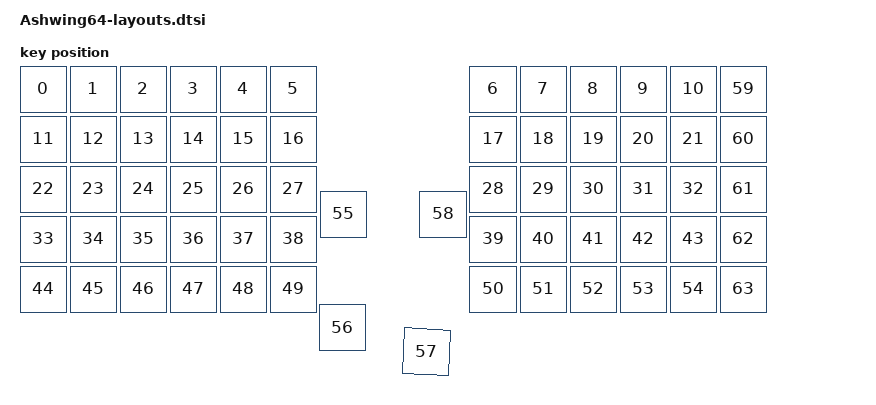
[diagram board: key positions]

/*
 * Copyright (c) 2024 The ZMK Contributors
 *
 * SPDX-License-Identifier: MIT
 */

#include <physical_layouts.dtsi>

/ {
    DEFAULT: DEFAULT {
        compatible = "zmk,physical-layout";
        display-name = "Ashwing64";
        transform = <&default_transform>;
        kscan = <&kscan0>;

        keys  //                     w   h    x    y     rot    rx    ry
            //Left Row0
            = <&key_physical_attrs 100 100    0    0       0     0     0>
            , <&key_physical_attrs 100 100  100    0       0     0     0>
            , <&key_physical_attrs 100 100  200    0       0     0     0>
            , <&key_physical_attrs 100 100  300    0       0     0     0>
            , <&key_physical_attrs 100 100  400    0       0     0     0>
            , <&key_physical_attrs 100 100  500    0       0     0     0>
            //Right Row0
            , <&key_physical_attrs 100 100  900    0       0     0     0>
            , <&key_physical_attrs 100 100  1000    0       0     0     0>
            , <&key_physical_attrs 100 100  1100    0       0     0     0>
            , <&key_physical_attrs 100 100  1200    0       0     0     0>
            , <&key_physical_attrs 100 100  1300    0       0     0     0>
            //Left Row1
            , <&key_physical_attrs 100 100  0    100       0     0     0>
            , <&key_physical_attrs 100 100  100  100       0     0     0>
            , <&key_physical_attrs 100 100  200  100       0     0     0>
            , <&key_physical_attrs 100 100  300  100       0     0     0>
            , <&key_physical_attrs 100 100  400  100       0     0     0>
            , <&key_physical_attrs 100 100  500  100       0     0     0>
            //Right Row1
            , <&key_physical_attrs 100 100  900  100       0     0     0>
            , <&key_physical_attrs 100 100  1000  100       0     0     0>
            , <&key_physical_attrs 100 100  1100  100       0     0     0>
	    , <&key_physical_attrs 100 100  1200  100       0     0     0>
            , <&key_physical_attrs 100 100  1300   100       0     0     0>
            //Left Row2
            , <&key_physical_attrs 100 100  0    200       0     0     0>
            , <&key_physical_attrs 100 100  100  200       0     0     0>
            , <&key_physical_attrs 100 100  200  200       0     0     0>
            , <&key_physical_attrs 100 100  300  200       0     0     0>
            , <&key_physical_attrs 100 100  400  200       0     0     0>
            , <&key_physical_attrs 100 100  500  200       0     0     0>
            //Right Row2
            , <&key_physical_attrs 100 100  900  200       0     0     0>
            , <&key_physical_attrs 100 100  1000  200       0     0     0>
            , <&key_physical_attrs 100 100  1100  200       0     0     0>
            , <&key_physical_attrs 100 100  1200  200       0     0     0>
            , <&key_physical_attrs 100 100  1300   200       0     0     0>
            //Left Row3
            , <&key_physical_attrs 100 100  0    300       0     0     0>
            , <&key_physical_attrs 100 100  100  300       0     0     0>
            , <&key_physical_attrs 100 100  200  300       0     0     0>
            , <&key_physical_attrs 100 100  300  300       0     0     0>
            , <&key_physical_attrs 100 100  400  300       0     0     0>
            , <&key_physical_attrs 100 100  500  300       0     0     0>
            //Right Row3
            , <&key_physical_attrs 100 100  900  300       0     0     0>
            , <&key_physical_attrs 100 100  1000  300       0     0     0>
            , <&key_physical_attrs 100 100  1100  300       0     0     0>
            , <&key_physical_attrs 100 100  1200  300       0     0     0>
            , <&key_physical_attrs 100 100  1300   300       0     0     0>
            //Left Row4
            , <&key_physical_attrs 100 100  0    400       0     0     0>
            , <&key_physical_attrs 100 100  100  400       0     0     0>
            , <&key_physical_attrs 100 100  200  400       0     0     0>
            , <&key_physical_attrs 100 100  300  400       0     0     0>
            , <&key_physical_attrs 100 100  400  400       0     0     0>
            , <&key_physical_attrs 100 100  500  400       0     0     0>
            //Right Row4
            , <&key_physical_attrs 100 100  900  400       0     0     0>
            , <&key_physical_attrs 100 100  1000  400       0     0     0>
            , <&key_physical_attrs 100 100  1100  400       0     0     0>
            , <&key_physical_attrs 100 100  1200  400       0     0     0>
            , <&key_physical_attrs 100 100  1300   400       0     0     0>
            //Centre Cluster
            , <&key_physical_attrs 100 100  600  250       0     0     0>
            , <&key_physical_attrs 100 100  600  475       15     0     0>
            , <&key_physical_attrs 100 100  800  475       345     0     0>
            , <&key_physical_attrs 100 100  800  250       0     0     0>
            //Right Most Column
            , <&key_physical_attrs 100 100  1400  0       0     0     0>
            , <&key_physical_attrs 100 100  1400  100       0     0     0>
            , <&key_physical_attrs 100 100  1400  200       0     0     0>
            , <&key_physical_attrs 100 100  1400  300       0     0     0>
            , <&key_physical_attrs 100 100  1400  400       0     0     0>
;
    };
};

/ {
    keypad_position_map {
        Ashwing64_map: Ashwing64 {
            physical-layout = <&DEFAULT>;
            positions
            = <0  1  2  3  4  5  6  7  8  9  10>
            , <11 12 13 14 15 16 17 18 19 20 21>
            , <22 23 24 25 26 27 28 29 30 31 32>
            , <33 34 35 36 37 38 39 40 41 42 43>
            , <44 45 46 47 48 49 50 51 52 53 54>
            , <55 56 57 58 59 60 61 62 63>
	    ;
        };
    };
};
